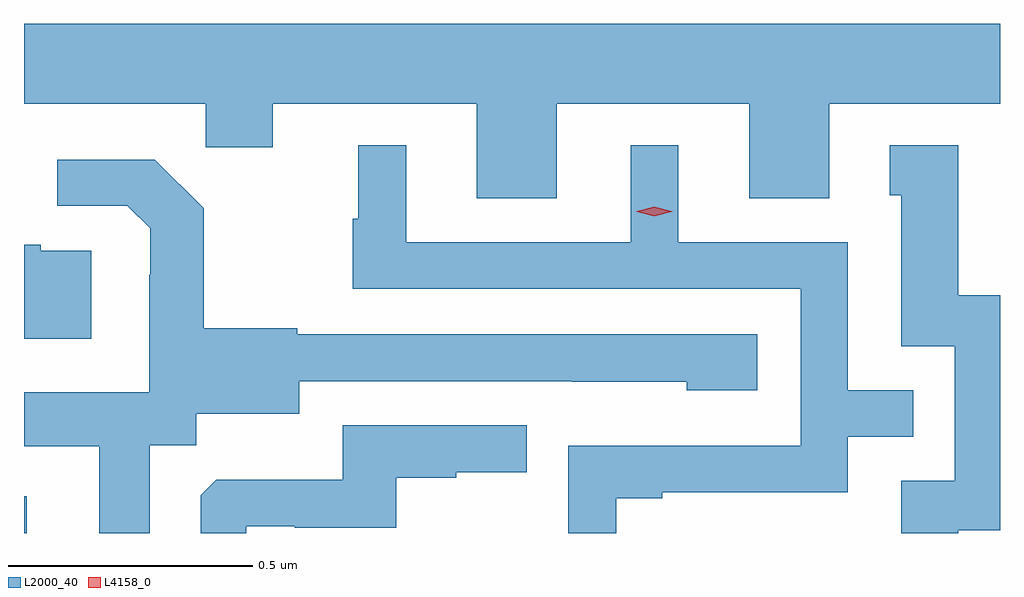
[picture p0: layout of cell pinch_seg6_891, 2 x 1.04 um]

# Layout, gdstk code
import gdstk
lib = gdstk.Library(unit=1e-6, precision=1e-09)
def R(c, l, rs):  # rectangles x0, y0, x1, y1
    for r in rs: c.add(gdstk.rectangle(r[:2], r[2:], *l))
def P(c, l, *ps):  # polygons
    for p in ps: c.add(gdstk.Polygon(p, *l))
L2000_40 = (2000, 40)
L4158_0 = (4158, 0)

pinch_seg6_891 = lib.new_cell('pinch_seg6_891')
R(pinch_seg6_891, L2000_40, [(141.859,979.755,141.865,979.831)])
P(pinch_seg6_891, L2000_40, [(142.951,980.636),(143.345,980.636),(143.345,980.442),(143.509,980.442),(143.509,980.636),(143.859,980.636),(143.859,980.8),(141.859,980.8),(141.859,980.636),(142.231,980.636),(142.231,980.546),(142.369,980.546),(142.369,980.636),(142.787,980.636),(142.787,980.442),(142.951,980.442)],
  [(143.073,979.827),(143.167,979.827),(143.167,979.839),(143.547,979.839),(143.547,979.953),(143.681,979.953),(143.681,980.049),(143.547,980.049),(143.547,980.352),(143.2,980.352),(143.2,980.551),(143.102,980.551),(143.102,980.352),(142.642,980.352),(142.642,980.551),(142.544,980.551),(142.544,980.4),(142.533,980.4),(142.533,980.256),(143.451,980.256),(143.451,979.935),(142.974,979.935),(142.974,979.755),(143.073,979.755)],
  [(143.773,979.762),(143.859,979.762),(143.859,980.243),(143.773,980.243),(143.773,980.551),(143.633,980.551),(143.633,980.448),(143.657,980.448),(143.657,980.139),(143.766,980.139),(143.766,979.863),(143.657,979.863),(143.657,979.755),(143.773,979.755)],
  [(142.117,979.936),(142.212,979.936),(142.212,980),(142.423,980),(142.423,980.067),(142.981,980.067),(142.981,980.066),(143.217,980.066),(143.217,980.048),(143.362,980.048),(143.362,980.163),(142.419,980.163),(142.419,980.176),(142.227,980.176),(142.227,980.421),(142.127,980.521),(141.927,980.521),(141.927,980.427),(142.071,980.427),(142.118,980.38),(142.118,980.285),(142.116,980.285),(142.116,980.044),(141.859,980.044),(141.859,979.934),(142.013,979.934),(142.013,979.755),(142.117,979.755)],
  [(141.997,980.334),(141.893,980.334),(141.893,980.347),(141.859,980.347),(141.859,980.154),(141.997,980.154)],
  [(142.314,979.77),(142.414,979.77),(142.414,979.767),(142.622,979.767),(142.622,979.869),(142.745,979.869),(142.745,979.88),(142.889,979.88),(142.889,979.977),(142.512,979.977),(142.512,979.865),(142.253,979.865),(142.221,979.833),(142.221,979.755),(142.314,979.755)])
P(pinch_seg6_891, L4158_0, [(143.151,980.405),(143.115,980.414),(143.115,980.415),(143.115,980.415),(143.151,980.425),(143.186,980.415),(143.187,980.415),(143.186,980.414)])

lib.write_gds('pinch_seg6_891.gds')
